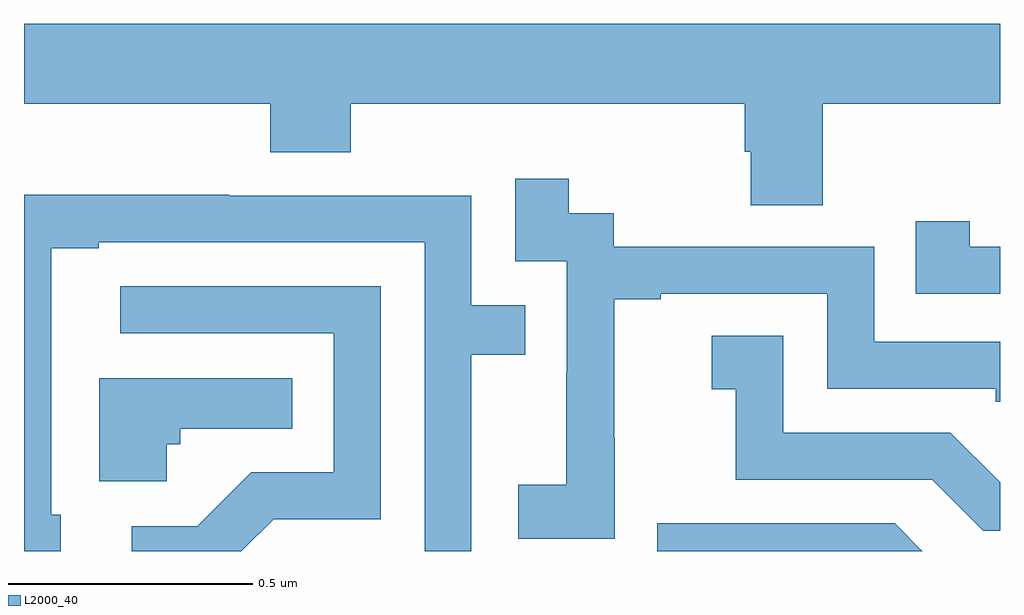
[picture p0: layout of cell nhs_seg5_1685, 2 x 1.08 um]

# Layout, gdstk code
import gdstk
lib = gdstk.Library(unit=1e-6, precision=1e-09)
def P(c, l, *ps):  # polygons
    for p in ps: c.add(gdstk.Polygon(p, *l))
L2000_40 = (2000, 40)

nhs_seg5_1685 = lib.new_cell('nhs_seg5_1685')
P(nhs_seg5_1685, L2000_40, [(134.637,900.716),(135,900.716),(135,900.88),(133,900.88),(133,900.716),(133.505,900.716),(133.505,900.617),(133.67,900.617),(133.67,900.716),(134.477,900.716),(134.477,900.618),(134.489,900.618),(134.489,900.508),(134.637,900.508)],
  [(134.211,900.031),(134.21,900.031),(134.21,900.315),(134.305,900.315),(134.305,900.327),(134.646,900.327),(134.646,900.132),(134.991,900.132),(134.991,900.105),(135,900.105),(135,900.228),(134.742,900.228),(134.742,900.423),(134.208,900.423),(134.208,900.492),(134.116,900.492),(134.116,900.562),(134.007,900.562),(134.007,900.393),(134.112,900.393),(134.112,900.164),(134.111,900.164),(134.111,899.935),(134.013,899.935),(134.013,899.825),(134.211,899.825)],
  [(133.075,899.874),(133.056,899.874),(133.056,900.42),(133.153,900.42),(133.153,900.432),(133.821,900.432),(133.821,899.799),(133.917,899.799),(133.917,900.202),(134.027,900.202),(134.027,900.303),(133.917,900.303),(133.917,900.528),(133.421,900.528),(133.421,900.53),(133,900.53),(133,899.799),(133.075,899.799)],
  [(135,900.423),(134.938,900.423),(134.938,900.475),(134.827,900.475),(134.827,900.327),(135,900.327)],
  [(133.512,899.865),(133.731,899.865),(133.731,900.342),(133.197,900.342),(133.197,900.246),(133.635,900.246),(133.635,899.961),(133.466,899.961),(133.355,899.85),(133.221,899.85),(133.221,899.799),(133.445,899.799)],
  [(135,899.94),(134.898,900.042),(134.556,900.042),(134.556,900.241),(134.409,900.241),(134.409,900.131),(134.458,900.131),(134.458,899.946),(134.861,899.946),(134.966,899.841),(135,899.841)],
  [(133.293,900.018),(133.32,900.018),(133.32,900.05),(133.55,900.05),(133.55,900.154),(133.154,900.154),(133.154,899.942),(133.293,899.942)],
  [(134.784,899.856),(134.298,899.856),(134.298,899.799),(134.841,899.799)])

lib.write_gds('nhs_seg5_1685.gds')
